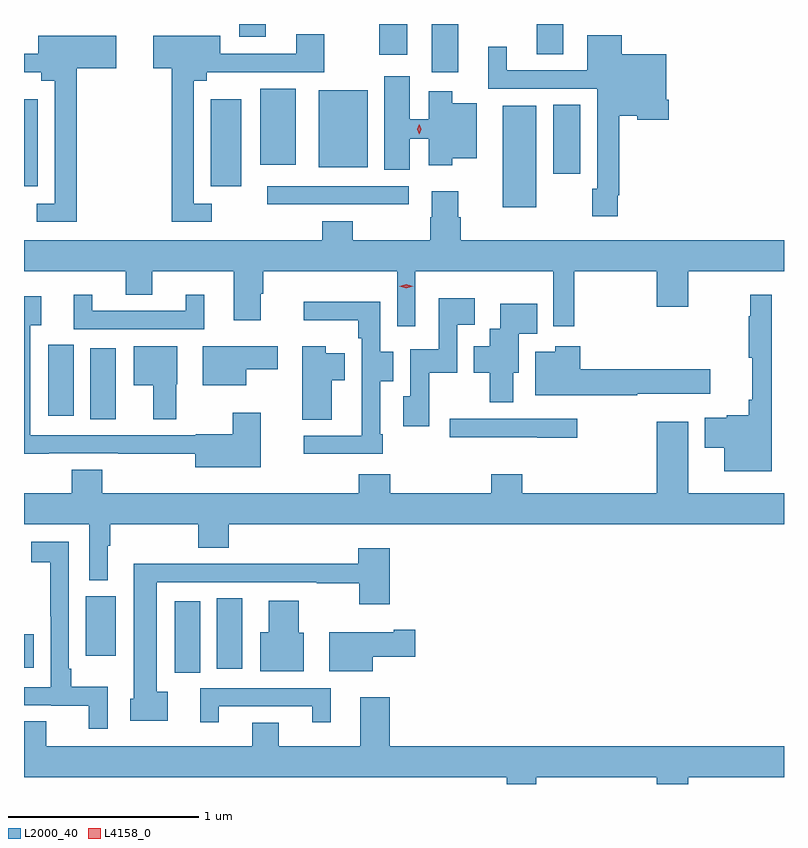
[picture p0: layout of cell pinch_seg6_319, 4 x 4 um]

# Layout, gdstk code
import gdstk
lib = gdstk.Library(unit=1e-6, precision=1e-09)
def R(c, l, rs):  # rectangles x0, y0, x1, y1
    for r in rs: c.add(gdstk.rectangle(r[:2], r[2:], *l))
def P(c, l, *ps):  # polygons
    for p in ps: c.add(gdstk.Polygon(p, *l))
L2000_40 = (2000, 40)
L4158_0 = (4158, 0)

pinch_seg6_319 = lib.new_cell('pinch_seg6_319')
R(pinch_seg6_319, L2000_40, [(665.966,982.518,666.1,982.894), (666.188,982.539,666.322,982.91), (665.173,982.544,665.224,982.72), (665.498,982.608,665.656,982.92), (665.522,983.854,665.656,984.226), (665.3,983.871,665.434,984.246), (667.694,984.968,667.87,985.504), (666.453,984.984,667.198,985.08), (665.173,985.079,665.245,985.537), (666.155,985.079,666.316,985.537), (667.958,985.146,668.101,985.508), (666.725,985.178,666.982,985.585), (666.416,985.193,666.604,985.591), (667.319,985.68,667.459,985.933), (667.042,985.77,667.189,985.933), (667.871,985.774,668.011,985.933), (666.305,985.865,666.445,985.933)])
P(pinch_seg6_319, L2000_40, [(666.16,984.987),(666.066,984.987),(666.066,985.634),(666.136,985.634),(666.136,985.68),(666.753,985.68),(666.753,985.879),(666.605,985.879),(666.605,985.776),(666.205,985.776),(666.205,985.87),(665.853,985.87),(665.853,985.7),(665.95,985.7),(665.95,984.891),(666.16,984.891)],
  [(668.299,985.033),(668.306,985.033),(668.306,985.451),(668.4,985.451),(668.4,985.43),(668.567,985.43),(668.567,985.534),(668.554,985.534),(668.554,985.774),(668.32,985.774),(668.32,985.873),(668.138,985.873),(668.138,985.689),(667.714,985.689),(667.714,985.813),(667.616,985.813),(667.616,985.593),(668.19,985.593),(668.19,985.065),(668.164,985.065),(668.164,984.921),(668.299,984.921)],
  [(665.45,985.7),(665.659,985.7),(665.659,985.87),(665.249,985.87),(665.249,985.776),(665.173,985.776),(665.173,985.68),(665.264,985.68),(665.264,985.634),(665.334,985.634),(665.334,984.987),(665.241,984.987),(665.241,984.891),(665.45,984.891)],
  [(667.204,985.33),(667.304,985.33),(667.304,985.19),(667.426,985.19),(667.426,985.226),(667.555,985.226),(667.555,985.516),(667.426,985.516),(667.426,985.579),(667.304,985.579),(667.304,985.431),(667.204,985.431),(667.204,985.657),(667.07,985.657),(667.07,985.165),(667.204,985.165)],
  [(667.233,984.632),(667.959,984.632),(667.959,984.342),(668.068,984.342),(668.068,984.632),(668.504,984.632),(668.504,984.444),(668.668,984.444),(668.668,984.632),(669.173,984.632),(669.173,984.796),(667.472,984.796),(667.472,984.917),(667.459,984.917),(667.459,985.054),(667.319,985.054),(667.319,984.917),(667.312,984.917),(667.312,984.796),(666.903,984.796),(666.903,984.895),(666.743,984.895),(666.743,984.796),(665.173,984.796),(665.173,984.632),(665.708,984.632),(665.708,984.508),(665.848,984.508),(665.848,984.632),(666.278,984.632),(666.278,984.375),(666.418,984.375),(666.418,984.512),(666.431,984.512),(666.431,984.632),(667.137,984.632),(667.137,984.342),(667.233,984.342)],
  [(666.121,984.508),(666.023,984.508),(666.023,984.423),(665.533,984.423),(665.533,984.508),(665.435,984.508),(665.435,984.327),(666.121,984.327)],
  [(669.109,984.508),(668.995,984.508),(668.995,984.395),(668.988,984.395),(668.988,984.176),(669.005,984.176),(669.005,983.956),(668.988,983.956),(668.988,983.873),(668.872,983.873),(668.872,983.86),(668.757,983.86),(668.757,983.702),(668.858,983.702),(668.858,983.579),(669.109,983.579)],
  [(666.418,983.887),(666.271,983.887),(666.271,983.774),(666.078,983.774),(666.078,983.769),(665.206,983.769),(665.206,984.347),(665.263,984.347),(665.263,984.499),(665.173,984.499),(665.173,983.672),(665.302,983.672),(665.302,983.673),(665.668,983.673),(665.668,983.672),(666.074,983.672),(666.074,983.6),(666.418,983.6)],
  [(667.305,984.098),(667.452,984.098),(667.452,984.35),(667.546,984.35),(667.546,984.49),(667.356,984.49),(667.356,984.22),(667.206,984.22),(667.206,983.973),(667.169,983.973),(667.169,983.817),(667.305,983.817)],
  [(667.06,983.773),(667.047,983.773),(667.047,984.052),(667.117,984.052),(667.117,984.207),(667.047,984.207),(667.047,984.472),(666.645,984.472),(666.645,984.374),(666.931,984.374),(666.931,984.278),(666.951,984.278),(666.951,983.963),(666.95,983.963),(666.95,983.766),(666.645,983.766),(666.645,983.67),(667.06,983.67)],
  [(667.747,984.098),(667.777,984.098),(667.777,984.302),(667.874,984.302),(667.874,984.46),(667.68,984.46),(667.68,984.328),(667.625,984.328),(667.625,984.238),(667.541,984.238),(667.541,984.098),(667.625,984.098),(667.625,983.941),(667.747,983.941)],
  [(665.974,984.036),(665.98,984.036),(665.98,984.238),(665.75,984.238),(665.75,984.032),(665.852,984.032),(665.852,983.854),(665.974,983.854)],
  [(666.343,984.116),(666.508,984.116),(666.508,984.238),(666.113,984.238),(666.113,984.032),(666.343,984.032)],
  [(666.793,984.059),(666.862,984.059),(666.862,984.199),(666.76,984.199),(666.76,984.238),(666.638,984.238),(666.638,983.851),(666.793,983.851)],
  [(668.088,983.98),(668.4,983.98),(668.4,983.987),(668.785,983.987),(668.785,984.117),(668.4,984.117),(668.4,984.116),(668.1,984.116),(668.1,984.238),(667.97,984.238),(667.97,984.208),(667.865,984.208),(667.865,983.978),(668.088,983.978)],
  [(668.086,983.856),(667.413,983.856),(667.413,983.759),(667.873,983.759),(667.873,983.755),(668.086,983.755)],
  [(665.585,983.588),(665.425,983.588),(665.425,983.464),(665.173,983.464),(665.173,983.3),(665.517,983.3),(665.517,983.005),(665.614,983.005),(665.614,983.188),(665.626,983.188),(665.626,983.3),(666.091,983.3),(666.091,983.176),(666.251,983.176),(666.251,983.3),(669.173,983.3),(669.173,983.464),(668.668,983.464),(668.668,983.839),(668.504,983.839),(668.504,983.464),(667.796,983.464),(667.796,983.563),(667.631,983.563),(667.631,983.464),(667.1,983.464),(667.1,983.563),(666.935,983.563),(666.935,983.464),(665.585,983.464)],
  [(665.613,982.444),(665.422,982.444),(665.422,982.54),(665.409,982.54),(665.409,983.208),(665.211,983.208),(665.211,983.1),(665.312,983.1),(665.312,982.816),(665.313,982.816),(665.313,982.443),(665.173,982.443),(665.173,982.347),(665.316,982.347),(665.316,982.346),(665.515,982.346),(665.515,982.224),(665.613,982.224)],
  [(665.929,982.418),(665.872,982.418),(665.872,982.995),(666.715,982.995),(666.715,982.99),(666.937,982.99),(666.937,982.878),(667.097,982.878),(667.097,983.173),(666.932,983.173),(666.932,983.093),(666.334,983.093),(666.334,983.091),(665.968,983.091),(665.968,983.093),(665.75,983.093),(665.75,982.383),(665.732,982.383),(665.732,982.265),(665.929,982.265)],
  [(666.646,982.728),(666.619,982.728),(666.619,982.897),(666.461,982.897),(666.461,982.732),(666.416,982.732),(666.416,982.526),(666.646,982.526)],
  [(667.009,982.603),(667.231,982.603),(667.231,982.745),(667.118,982.745),(667.118,982.732),(666.779,982.732),(666.779,982.526),(667.009,982.526)],
  [(666.199,982.341),(666.689,982.341),(666.689,982.257),(666.787,982.257),(666.787,982.437),(666.101,982.437),(666.101,982.257),(666.199,982.257)],
  [(667.868,981.968),(668.504,981.968),(668.504,981.933),(668.668,981.933),(668.668,981.968),(669.173,981.968),(669.173,982.132),(667.097,982.132),(667.097,982.39),(666.944,982.39),(666.944,982.132),(666.514,982.132),(666.514,982.256),(666.374,982.256),(666.374,982.132),(665.29,982.132),(665.29,982.262),(665.173,982.262),(665.173,981.968),(667.715,981.968),(667.715,981.933),(667.868,981.933)])
P(pinch_seg6_319, L4158_0, [(667.253,985.353),(667.253,985.353),(667.243,985.379),(667.253,985.405),(667.253,985.405),(667.253,985.405),(667.263,985.379),(667.253,985.353)],
  [(667.185,984.543),(667.149,984.553),(667.149,984.553),(667.149,984.553),(667.185,984.563),(667.221,984.553),(667.221,984.553),(667.221,984.553)])

lib.write_gds('pinch_seg6_319.gds')
